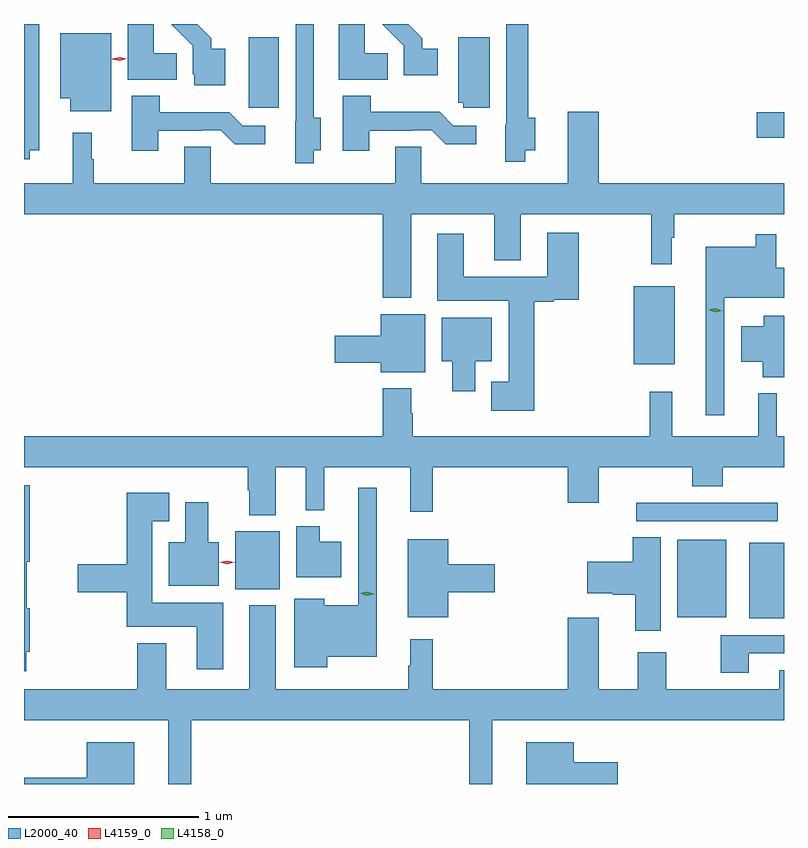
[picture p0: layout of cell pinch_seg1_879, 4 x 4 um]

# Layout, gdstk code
import gdstk
lib = gdstk.Library(unit=1e-6, precision=1e-09)
def R(c, l, rs):  # rectangles x0, y0, x1, y1
    for r in rs: c.add(gdstk.rectangle(r[:2], r[2:], *l))
def P(c, l, *ps):  # polygons
    for p in ps: c.add(gdstk.Polygon(p, *l))
L2000_40 = (2000, 40)
L4158_0 = (4158, 0)
L4159_0 = (4159, 0)

pinch_seg1_879 = lib.new_cell('pinch_seg1_879')
R(pinch_seg1_879, L2000_40, [(549.578,520.301,549.762,520.699), (549.2,520.307,549.457,520.714), (546.875,520.454,547.108,520.759), (548.985,520.812,549.73,520.908), (548.972,521.639,549.187,522.049), (549.618,522.83,549.762,522.965), (546.944,522.987,547.102,523.358)])
P(pinch_seg1_879, L2000_40, [(546.566,523.274),(546.445,523.274),(546.445,523.429),(546.308,523.429),(546.308,523.136),(546.566,523.136)],
  [(546.82,523.3),(546.748,523.3),(546.748,523.355),(546.674,523.429),(546.537,523.429),(546.651,523.315),(546.651,523.164),(546.659,523.164),(546.659,523.107),(546.82,523.107)],
  [(547.939,523.3),(547.858,523.3),(547.858,523.355),(547.784,523.429),(547.647,523.429),(547.761,523.315),(547.761,523.16),(547.939,523.16)],
  [(547.288,522.764),(547.324,522.764),(547.324,522.935),(547.288,522.935),(547.288,523.429),(547.191,523.429),(547.191,522.918),(547.19,522.918),(547.19,522.696),(547.288,522.696)],
  [(545.791,522.764),(545.841,522.764),(545.841,523.429),(545.762,523.429),(545.762,522.716),(545.791,522.716)],
  [(547.676,523.274),(547.555,523.274),(547.555,523.429),(547.418,523.429),(547.418,523.136),(547.676,523.136)],
  [(548.4,522.764),(548.452,522.764),(548.452,522.935),(548.417,522.935),(548.417,523.429),(548.301,523.429),(548.301,522.9),(548.294,522.9),(548.294,522.704),(548.4,522.704)],
  [(546.22,523.381),(545.954,523.381),(545.954,523.037),(546.005,523.037),(546.005,522.971),(546.22,522.971)],
  [(548.212,523.358),(548.048,523.358),(548.048,523.014),(548.073,523.014),(548.073,522.987),(548.212,522.987)],
  [(547.579,522.867),(547.808,522.867),(547.808,522.87),(547.908,522.87),(547.981,522.797),(548.143,522.797),(548.143,522.894),(548.022,522.894),(547.949,522.967),(547.587,522.967),(547.587,523.051),(547.439,523.051),(547.439,522.762),(547.579,522.762)],
  [(546.469,522.867),(546.698,522.867),(546.698,522.87),(546.798,522.87),(546.871,522.797),(547.033,522.797),(547.033,522.894),(546.912,522.894),(546.841,522.965),(546.477,522.965),(546.477,523.051),(546.329,523.051),(546.329,522.762),(546.469,522.762)],
  [(547.801,522.428),(548.237,522.428),(548.237,522.185),(548.377,522.185),(548.377,522.428),(549.063,522.428),(549.063,522.165),(549.172,522.165),(549.172,522.305),(549.184,522.305),(549.184,522.428),(549.762,522.428),(549.762,522.592),(548.788,522.592),(548.788,522.967),(548.624,522.967),(548.624,522.592),(547.854,522.592),(547.854,522.782),(547.715,522.782),(547.715,522.592),(546.744,522.592),(546.744,522.782),(546.605,522.782),(546.605,522.592),(546.13,522.592),(546.13,522.716),(546.119,522.716),(546.119,522.856),(546.019,522.856),(546.019,522.592),(545.762,522.592),(545.762,522.428),(547.649,522.428),(547.649,521.987),(547.801,521.987)],
  [(548.447,521.966),(548.55,521.966),(548.55,521.978),(548.682,521.978),(548.682,522.331),(548.516,522.331),(548.516,522.1),(548.077,522.1),(548.077,522.325),(547.937,522.325),(547.937,521.972),(548.312,521.972),(548.312,521.545),(548.222,521.545),(548.222,521.393),(548.447,521.393)],
  [(549.447,521.987),(549.762,521.987),(549.762,522.145),(549.721,522.145),(549.721,522.322),(549.612,522.322),(549.612,522.256),(549.35,522.256),(549.35,521.37),(549.447,521.37)],
  [(547.873,521.902),(547.64,521.902),(547.64,521.789),(547.398,521.789),(547.398,521.647),(547.64,521.647),(547.64,521.597),(547.873,521.597)],
  [(549.762,521.893),(549.656,521.893),(549.656,521.839),(549.536,521.839),(549.536,521.651),(549.65,521.651),(549.65,521.57),(549.762,521.57)],
  [(548.137,521.654),(548.224,521.654),(548.224,521.884),(547.961,521.884),(547.961,521.654),(548.015,521.654),(548.015,521.496),(548.137,521.496)],
  [(547.087,521.096),(547.244,521.096),(547.244,520.871),(547.343,520.871),(547.343,521.096),(547.796,521.096),(547.796,520.863),(547.913,520.863),(547.913,521.096),(548.624,521.096),(548.624,520.908),(548.788,520.908),(548.788,521.096),(549.28,521.096),(549.28,520.997),(549.44,520.997),(549.44,521.096),(549.762,521.096),(549.762,521.26),(549.725,521.26),(549.725,521.485),(549.626,521.485),(549.626,521.26),(549.173,521.26),(549.173,521.494),(549.055,521.494),(549.055,521.26),(547.809,521.26),(547.809,521.381),(547.801,521.381),(547.801,521.512),(547.649,521.512),(547.649,521.26),(545.762,521.26),(545.762,521.096),(546.94,521.096),(546.94,520.976),(546.947,520.976),(546.947,520.844),(547.087,520.844)],
  [(545.773,520.126),(545.792,520.126),(545.792,520.354),(545.777,520.354),(545.777,520.598),(545.792,520.598),(545.792,521.001),(545.762,521.001),(545.762,520.022),(545.773,520.022)],
  [(547.359,520.1),(547.618,520.1),(547.618,520.987),(547.521,520.987),(547.521,520.369),(547.342,520.369),(547.342,520.405),(547.184,520.405),(547.184,520.043),(547.359,520.043)],
  [(546.811,520.384),(546.436,520.384),(546.436,520.811),(546.526,520.811),(546.526,520.963),(546.302,520.963),(546.302,520.586),(546.045,520.586),(546.045,520.439),(546.302,520.439),(546.302,520.256),(546.671,520.256),(546.671,520.032),(546.811,520.032)],
  [(546.787,520.702),(546.733,520.702),(546.733,520.912),(546.611,520.912),(546.611,520.702),(546.524,520.702),(546.524,520.472),(546.787,520.472)],
  [(547.432,520.705),(547.318,520.705),(547.318,520.786),(547.196,520.786),(547.196,520.517),(547.432,520.517)],
  [(549.112,520.727),(548.966,520.727),(548.966,520.599),(548.727,520.599),(548.727,520.433),(548.861,520.433),(548.861,520.426),(548.978,520.426),(548.978,520.236),(549.112,520.236)],
  [(547.996,520.439),(548.239,520.439),(548.239,520.586),(547.996,520.586),(547.996,520.717),(547.781,520.717),(547.781,520.307),(547.996,520.307)],
  [(548.106,519.429),(548.227,519.429),(548.227,519.764),(549.762,519.764),(549.762,520.027),(549.737,520.027),(549.737,519.928),(549.141,519.928),(549.141,520.123),(548.993,520.123),(548.993,519.928),(548.788,519.928),(548.788,520.303),(548.624,520.303),(548.624,519.928),(547.913,519.928),(547.913,520.192),(547.796,520.192),(547.796,520.052),(547.785,520.052),(547.785,519.928),(547.087,519.928),(547.087,520.369),(546.947,520.369),(546.947,519.928),(546.511,519.928),(546.511,520.171),(546.359,520.171),(546.359,519.928),(545.762,519.928),(545.762,519.764),(546.521,519.764),(546.521,519.429),(546.643,519.429),(546.643,519.764),(548.106,519.764)],
  [(549.577,520.116),(549.762,520.116),(549.762,520.212),(549.43,520.212),(549.43,520.014),(549.577,520.014)],
  [(546.343,519.649),(546.092,519.649),(546.092,519.463),(545.762,519.463),(545.762,519.429),(546.343,519.429)],
  [(548.887,519.544),(548.656,519.544),(548.656,519.649),(548.405,519.649),(548.405,519.429),(548.887,519.429)])
P(pinch_seg1_879, L4158_0, [(547.566,520.421),(547.532,520.433),(547.531,520.433),(547.532,520.433),(547.567,520.441),(547.602,520.43),(547.603,520.429),(547.602,520.429)],
  [(549.401,521.913),(549.366,521.924),(549.365,521.924),(549.366,521.924),(549.401,521.932),(549.436,521.921),(549.437,521.921),(549.436,521.921)])
P(pinch_seg1_879, L4159_0, [(546.831,520.585),(546.792,520.595),(546.792,520.595),(546.792,520.595),(546.831,520.605),(546.869,520.595),(546.87,520.595),(546.869,520.595)],
  [(546.265,523.235),(546.226,523.244),(546.226,523.245),(546.226,523.245),(546.265,523.255),(546.304,523.245),(546.304,523.245),(546.304,523.245)])

lib.write_gds('pinch_seg1_879.gds')
